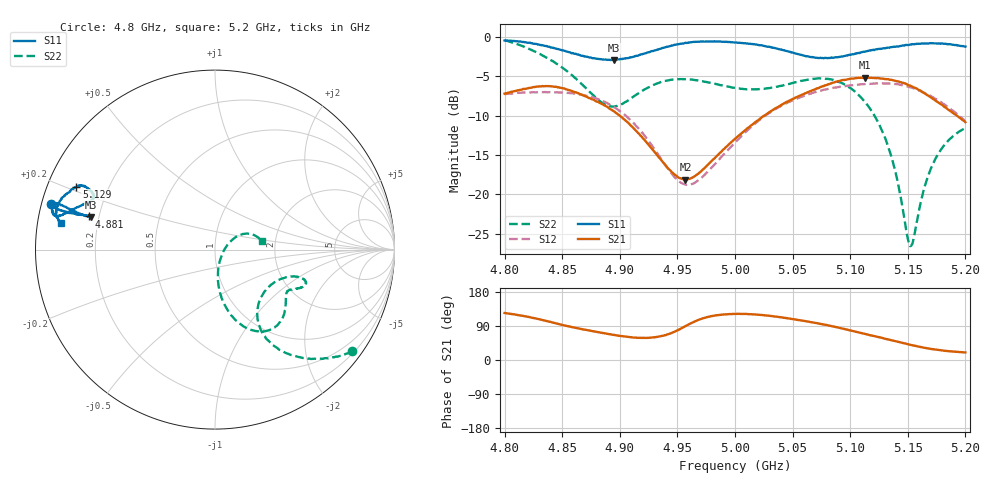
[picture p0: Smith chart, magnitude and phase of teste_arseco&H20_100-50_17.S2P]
! Network Analyzer HP8722D
! Hewlett-Packard
! Data name: Linha & Wilkinson
! Saver's name: Rodrigo Anjos
! Comments: Teste da utilização de aquisição
! continua pelo VNA HP8722D
! Time and date: 6/5/2025 12:42
!  Frequency  S11  S21  S12  S22
# HZ  S  MA R 50
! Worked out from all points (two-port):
!   401 points, 4.8 GHz to 5.2 GHz, reference 50 ohm
!   highest |S21| = -5.15 dB at 5.113 GHz (marker M1); lowest = -18.1 dB at 4.957 GHz (marker M2)
!   |S21| within 3 dB of the highest: start of sweep to 4.879 GHz; 5.046 GHz to 5.175 GHz (128.6 MHz wide, 2.52 % of centre)
!   lowest |S11| = -2.9 dB at 4.895 GHz (marker M3), VSWR 6.01, Z = 8.45 + j6.27 ohm
!   |S11| at or under -10 dB: nowhere
!   |S22| runs from -26.6 to -0.4 dB; largest |S21 - S12| = 0.71
!   S11 on the Smith chart (normalised r, x): 4.8 GHz: 0.03, +0.14; 4.881 GHz: 0.16, +0.13; 5.129 GHz: 0.09, +0.21; 5.2 GHz: 0.07, +0.09
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4.8e9  0.9512 164.4  0.4368 124.0  0.4339 19.2  0.9508 -36.6
4.833e9  0.8849 165.7  0.4884 105.5  0.4459 9.1  0.7633 -51.8
4.867e9  0.7608 165.2  0.4299 81.4  0.4296 -4.9  0.5022 -60.1
4.881e9  0.7261 165.2  0.388 73.7  0.4038 -13.3  0.4014 -53.6
4.895e9  0.7148 165.3  0.3374 66.2  0.3582 -21.6  0.3611 -37.5
4.934e9  0.8385 164.5  0.1717 61.8  0.1766 -32.5  0.5111 -18.2
4.957e9  0.9192 164.0  0.1243 89.4  0.1155 -3.5  0.54 -21.4
4.971e9  0.9362 164.3  0.1413 108.7  0.1277 20.0  0.5242 -23.6
5e9  0.9241 167.5  0.2256 121.5  0.2142 40.0  0.4747 -28.0
5.036e9  0.8456 165.7  0.3555 114.3  0.3513 35.5  0.4831 -35.1
5.067e9  0.7459 158.8  0.4583 99.6  0.4414 21.9  0.5408 -47.6
5.091e9  0.7479 155.3  0.5259 84.4  0.4836 8.7  0.5158 -61.9
5.113e9  0.8095 154.1  0.5527 68.7  0.5032 -4.3  0.3857 -75.4
5.129e9  0.8481 155.7  0.5431 57.0  0.5067 -14.4  0.2417 -83.4
5.134e9  0.8556 156.4  0.5357 53.5  0.5072 -17.8  0.1915 -84.4
5.141e9  0.8716 158.1  0.5225 48.4  0.5016 -22.6  0.1226 -82.0
5.15e9  0.8896 160.4  0.4979 41.6  0.4849 -28.8  0.0524 -48.1
5.153e9  0.8968 160.9  0.4865 39.7  0.4775 -30.9  0.04731 -19.0
5.164e9  0.9093 163.8  0.4413 32.5  0.4442 -37.6  0.1084 29.4
5.172e9  0.9132 165.6  0.4045 28.4  0.4145 -42.1  0.1577 30.5
5.184e9  0.901 168.0  0.3512 23.8  0.3632 -47.1  0.2154 24.1
5.2e9  0.8701 170.2  0.2879 19.9  0.2919 -52.0  0.2645 10.2
